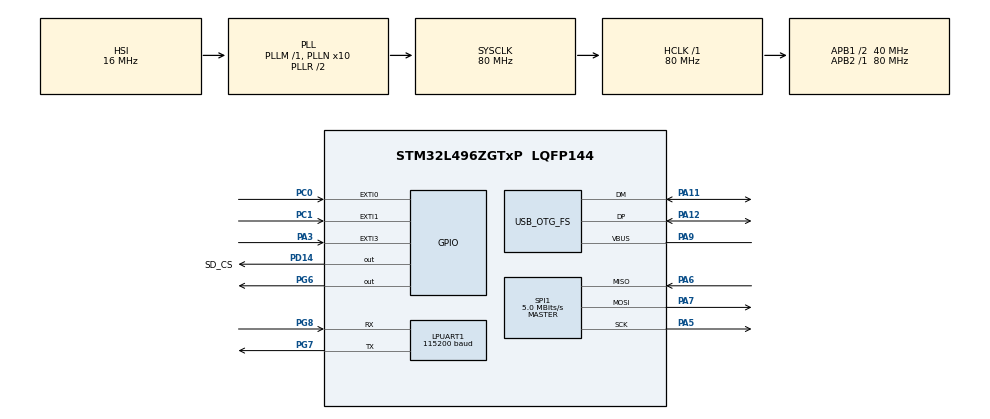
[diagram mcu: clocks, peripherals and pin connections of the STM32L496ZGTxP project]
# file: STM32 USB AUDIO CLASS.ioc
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Dma.Request0=SPI1_RX
Dma.Request1=SPI1_TX
Dma.SPI1_RX.0.Direction=DMA_PERIPH_TO_MEMORY
Dma.SPI1_RX.0.Instance=DMA1_Channel2
Dma.SPI1_RX.0.MemDataAlignment=DMA_MDATAALIGN_BYTE
Dma.SPI1_RX.0.MemInc=DMA_MINC_ENABLE
Dma.SPI1_RX.0.Mode=DMA_NORMAL
Dma.SPI1_RX.0.PeriphDataAlignment=DMA_PDATAALIGN_BYTE
Dma.SPI1_RX.0.PeriphInc=DMA_PINC_DISABLE
Dma.SPI1_RX.0.Priority=DMA_PRIORITY_LOW
Dma.SPI1_TX.1.Direction=DMA_MEMORY_TO_PERIPH
Dma.SPI1_TX.1.Instance=DMA1_Channel3
Dma.SPI1_TX.1.MemDataAlignment=DMA_MDATAALIGN_BYTE
Dma.SPI1_TX.1.MemInc=DMA_MINC_ENABLE
Dma.SPI1_TX.1.Mode=DMA_NORMAL
Dma.SPI1_TX.1.PeriphDataAlignment=DMA_PDATAALIGN_BYTE
Dma.SPI1_TX.1.PeriphInc=DMA_PINC_DISABLE
Dma.SPI1_TX.1.Priority=DMA_PRIORITY_LOW
LPUART1.BaudRate=115200
LPUART1.WordLength=UART_WORDLENGTH_8B
Mcu.Family=STM32L4
Mcu.Name=STM32L496ZGTxP
Mcu.Package=LQFP144
NVIC.DMA1_Channel2_IRQn=true\:0\:0\:false\:false\:true\:false\:true\:true
NVIC.DMA1_Channel3_IRQn=true\:0\:0\:false\:false\:true\:false\:true\:true
NVIC.EXTI0_IRQn=true\:0\:0\:false\:false\:true\:true\:true\:true
NVIC.EXTI1_IRQn=true\:0\:0\:false\:false\:true\:true\:true\:true
NVIC.EXTI3_IRQn=true\:0\:0\:false\:false\:true\:true\:true\:true
NVIC.OTG_FS_IRQn=true\:0\:0\:false\:false\:true\:true\:true\:true
NVIC.PriorityGroup=NVIC_PRIORITYGROUP_4
PA11.Mode=Host_Only
PA11.Signal=USB_OTG_FS_DM
PA12.Mode=Host_Only
PA12.Signal=USB_OTG_FS_DP
PA13\ (JTMS/SWDIO).Mode=Serial_Wire
PA13\ (JTMS/SWDIO).Signal=SYS_JTMS-SWDIO
PA14\ (JTCK/SWCLK).Mode=Serial_Wire
PA14\ (JTCK/SWCLK).Signal=SYS_JTCK-SWCLK
PA3.GPIO_ModeDefaultEXTI=GPIO_MODE_IT_FALLING
PA3.GPIO_PuPd=GPIO_PULLUP
PA3.Signal=GPXTI3
PA5.Mode=Full_Duplex_Master
PA5.Signal=SPI1_SCK
PA6.Mode=Full_Duplex_Master
PA6.Signal=SPI1_MISO
PA7.Mode=Full_Duplex_Master
PA7.Signal=SPI1_MOSI
PA9.Mode=Activate_VBUS
PA9.Signal=USB_OTG_FS_VBUS
PC0.GPIO_ModeDefaultEXTI=GPIO_MODE_IT_FALLING
PC0.GPIO_PuPd=GPIO_PULLUP
PC0.Signal=GPXTI0
PC1.GPIO_ModeDefaultEXTI=GPIO_MODE_IT_FALLING
PC1.GPIO_PuPd=GPIO_PULLUP
PC1.Signal=GPXTI1
PD14.GPIO_Label=SD_CS
PD14.GPIO_Speed=GPIO_SPEED_FREQ_VERY_HIGH
PD14.PinState=GPIO_PIN_SET
PD14.Signal=GPIO_Output
PG6.PinState=GPIO_PIN_SET
PG6.Signal=GPIO_Output
PG7.Mode=Asynchronous
PG7.Signal=LPUART1_TX
PG8.Mode=Asynchronous
PG8.Signal=LPUART1_RX
ProjectManager.HeapSize=0x200
ProjectManager.StackSize=0x400
ProjectManager.TargetToolchain=STM32CubeIDE
RCC.48MHZClocksFreq_Value=24000000
RCC.ADCFreq_Value=64000000
RCC.AHBFreq_Value=80000000
RCC.APB1CLKDivider=RCC_HCLK_DIV2
RCC.APB1Freq_Value=40000000
RCC.APB1TimFreq_Value=80000000
RCC.APB2Freq_Value=80000000
RCC.APB2TimFreq_Value=80000000
RCC.CK48CLockSelection=RCC_USBCLKSOURCE_HSI48
RCC.CortexFreq_Value=80000000
RCC.HCLKFreq_Value=80000000
RCC.HSE_VALUE=8000000
RCC.HSI48_VALUE=48000000
RCC.HSI_VALUE=16000000
RCC.LSE_VALUE=32768
RCC.MSI_VALUE=4000000
RCC.PLLMUL=RCC_PLL_MUL9
RCC.PLLN=10
RCC.PLLSourceVirtual=RCC_PLLSOURCE_HSI
RCC.PRESCALERUSB=RCC_USBCLKSOURCE_PLL_DIV1_5
RCC.SYSCLKFreq_VALUE=80000000
RCC.SYSCLKSource=RCC_SYSCLKSOURCE_PLLCLK
RCC.SYSCLKSourceVirtual=RCC_SYSCLKSOURCE_PLLCLK
RCC.USBFreq_Value=48000000
RCC.VCOOutputFreq_Value=160000000
SPI1.BaudRatePrescaler=SPI_BAUDRATEPRESCALER_16
SPI1.CalculateBaudRate=5.0 MBits/s
SPI1.DataSize=SPI_DATASIZE_8BIT
SPI1.Direction=SPI_DIRECTION_2LINES
SPI1.Mode=SPI_MODE_MASTER
SPI1.VirtualType=VM_MASTER
USB_HOST.USBH_HandleTypeDef=hUsbHostFS
USB_HOST.VirtualModeFS=Audio
USB_OTG_FS.VirtualMode=Host_Only
USB_OTG_FS.phy_itface=HCD_PHY_EMBEDDED
VP_FATFS_VS_Generic.Mode=User_defined
VP_USB_HOST_VS_USB_HOST_AUDIO_FS.Mode=AUDIO_FS
board=NUCLEO-L496ZG-P

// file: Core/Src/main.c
/* USER CODE BEGIN Header */
/**
  ******************************************************************************
  * @file           : main.c
  * @brief          : Main program body
  ******************************************************************************
  * @attention
  *
  * Copyright (c) 2026 STMicroelectronics.
  * All rights reserved.
  *
  * This software is licensed under terms that can be found in the LICENSE file
  * in the root directory of this software component.
  * If no LICENSE file comes with this software, it is provided AS-IS.
  *
  ******************************************************************************
  */
/* USER CODE END Header */
#include "main.h"
#include "fatfs.h"
#include "usb_host.h"

/* USER CODE BEGIN Includes */
#include "explorer.h"
#include "usbh_core.h"
#include "audio.h"
/* USER CODE END Includes */

UART_HandleTypeDef hlpuart1;

SPI_HandleTypeDef hspi1;
DMA_HandleTypeDef hdma_spi1_rx;
DMA_HandleTypeDef hdma_spi1_tx;

void SystemClock_Config(void);
static void MX_GPIO_Init(void);
static void MX_DMA_Init(void);
static void MX_SPI1_Init(void);
static void MX_LPUART1_UART_Init(void);
void MX_USB_HOST_Process(void);

/* USER CODE BEGIN 0 */

int _write(int fd, unsigned char *buf, int len) {
  if (fd == 1 || fd == 2) {
    HAL_UART_Transmit(&hlpuart1, buf, len, 999);
  }
  return len;
}

extern USBH_HandleTypeDef hUsbHostFS;
extern ApplicationTypeDef Appli_state;

int audio_started = 0;
uint16_t key_pressed = 0;

void HAL_GPIO_EXTI_Callback(uint16_t GPIO_Pin)
{
	key_pressed = GPIO_Pin;
}

void USB_AppProcess(void)
{
    if ((Appli_state == APPLICATION_READY) && (hUsbHostFS.gState == HOST_CLASS) && (audio_started == 0))
    {
        if (SD_StorageInit() == 0)
        {
        	audio_started = 1;
        	SD_StorageParse();
        	AUDIO_Start(0);
        }
    }

    if (key_pressed != 0)
    {
    	HAL_Delay(250);
    	if (key_pressed == GPIO_PIN_3)  // PA3 -> NEXT
    	{
    		AUDIO_PlaybackKeys(AUDIO_KEY_NEXT);
    	}

    	else if (key_pressed == GPIO_PIN_0) // PC0 -> PREVIOUS
    	{
    		AUDIO_PlaybackKeys(AUDIO_KEY_PREVIOUS);
    	}

    	else if (key_pressed == GPIO_PIN_1) // PC1 -> PLAY/PAUSE
    	{
    		AUDIO_PlaybackKeys(AUDIO_KEY_PLAY_PAUSE);
    	}

    	key_pressed = 0;
    }
}

/* USER CODE END 0 */

int main(void)
{

  /* MCU Configuration--------------------------------------------------------*/

  /* Reset of all peripherals, Initializes the Flash interface and the Systick. */
  HAL_Init();

  /* Configure the system clock */
  SystemClock_Config();

  /* Initialize all configured peripherals */
  MX_GPIO_Init();
  MX_DMA_Init();
  MX_SPI1_Init();
  MX_LPUART1_UART_Init();
//  MX_FATFS_Init();
  MX_USB_HOST_Init();

  /* Infinite loop */
  while (1)
  {
    MX_USB_HOST_Process();

    /* USER CODE BEGIN 3 */

    USB_AppProcess();
    AUDIO_Process();
  }
  /* USER CODE END 3 */
}

void SystemClock_Config(void)
{
  RCC_OscInitTypeDef RCC_OscInitStruct = {0};
  RCC_ClkInitTypeDef RCC_ClkInitStruct = {0};

  /** Configure the main internal regulator output voltage
  */
  if (HAL_PWREx_ControlVoltageScaling(PWR_REGULATOR_VOLTAGE_SCALE1) != HAL_OK)
  {
    Error_Handler();
  }

  /** Initializes the RCC Oscillators according to the specified parameters
  * in the RCC_OscInitTypeDef structure.
  */
  RCC_OscInitStruct.OscillatorType = RCC_OSCILLATORTYPE_HSI48|RCC_OSCILLATORTYPE_HSI;
  RCC_OscInitStruct.HSIState = RCC_HSI_ON;
  RCC_OscInitStruct.HSI48State = RCC_HSI48_ON;
  RCC_OscInitStruct.HSICalibrationValue = RCC_HSICALIBRATION_DEFAULT;
  RCC_OscInitStruct.PLL.PLLState = RCC_PLL_ON;
  RCC_OscInitStruct.PLL.PLLSource = RCC_PLLSOURCE_HSI;
  RCC_OscInitStruct.PLL.PLLM = 1;
  RCC_OscInitStruct.PLL.PLLN = 10;
  RCC_OscInitStruct.PLL.PLLP = RCC_PLLP_DIV2;
  RCC_OscInitStruct.PLL.PLLQ = RCC_PLLQ_DIV2;
  RCC_OscInitStruct.PLL.PLLR = RCC_PLLR_DIV2;
  if (HAL_RCC_OscConfig(&RCC_OscInitStruct) != HAL_OK)
  {
    Error_Handler();
  }

  /** Initializes the CPU, AHB and APB buses clocks
  */
  RCC_ClkInitStruct.ClockType = RCC_CLOCKTYPE_HCLK|RCC_CLOCKTYPE_SYSCLK
                              |RCC_CLOCKTYPE_PCLK1|RCC_CLOCKTYPE_PCLK2;
  RCC_ClkInitStruct.SYSCLKSource = RCC_SYSCLKSOURCE_PLLCLK;
  RCC_ClkInitStruct.AHBCLKDivider = RCC_SYSCLK_DIV1;
  RCC_ClkInitStruct.APB1CLKDivider = RCC_HCLK_DIV2;
  RCC_ClkInitStruct.APB2CLKDivider = RCC_HCLK_DIV1;

  if (HAL_RCC_ClockConfig(&RCC_ClkInitStruct, FLASH_LATENCY_4) != HAL_OK)
  {
    Error_Handler();
  }
}

static void MX_LPUART1_UART_Init(void)
{

  hlpuart1.Instance = LPUART1;
  hlpuart1.Init.BaudRate = 115200;
  hlpuart1.Init.WordLength = UART_WORDLENGTH_8B;
  hlpuart1.Init.StopBits = UART_STOPBITS_1;
  hlpuart1.Init.Parity = UART_PARITY_NONE;
  hlpuart1.Init.Mode = UART_MODE_TX_RX;
  hlpuart1.Init.HwFlowCtl = UART_HWCONTROL_NONE;
  hlpuart1.Init.OneBitSampling = UART_ONE_BIT_SAMPLE_DISABLE;
  hlpuart1.AdvancedInit.AdvFeatureInit = UART_ADVFEATURE_NO_INIT;
  if (HAL_UART_Init(&hlpuart1) != HAL_OK)
  {
    Error_Handler();
  }

}

static void MX_SPI1_Init(void)
{

  /* SPI1 parameter configuration*/
  hspi1.Instance = SPI1;
  hspi1.Init.Mode = SPI_MODE_MASTER;
  hspi1.Init.Direction = SPI_DIRECTION_2LINES;
  hspi1.Init.DataSize = SPI_DATASIZE_8BIT;
  hspi1.Init.CLKPolarity = SPI_POLARITY_LOW;
  hspi1.Init.CLKPhase = SPI_PHASE_1EDGE;
  hspi1.Init.NSS = SPI_NSS_SOFT;
  hspi1.Init.BaudRatePrescaler = SPI_BAUDRATEPRESCALER_16;
  hspi1.Init.FirstBit = SPI_FIRSTBIT_MSB;
  hspi1.Init.TIMode = SPI_TIMODE_DISABLE;
  hspi1.Init.CRCCalculation = SPI_CRCCALCULATION_DISABLE;
  hspi1.Init.CRCPolynomial = 7;
  hspi1.Init.CRCLength = SPI_CRC_LENGTH_DATASIZE;
  hspi1.Init.NSSPMode = SPI_NSS_PULSE_ENABLE;
  if (HAL_SPI_Init(&hspi1) != HAL_OK)
  {
    Error_Handler();
  }

}

static void MX_DMA_Init(void)
{

  /* DMA controller clock enable */
  __HAL_RCC_DMA1_CLK_ENABLE();

  /* DMA interrupt init */
  /* DMA1_Channel2_IRQn interrupt configuration */
  HAL_NVIC_SetPriority(DMA1_Channel2_IRQn, 0, 0);
  HAL_NVIC_EnableIRQ(DMA1_Channel2_IRQn);
  /* DMA1_Channel3_IRQn interrupt configuration */
  HAL_NVIC_SetPriority(DMA1_Channel3_IRQn, 0, 0);
  HAL_NVIC_EnableIRQ(DMA1_Channel3_IRQn);

}

static void MX_GPIO_Init(void)
{
  GPIO_InitTypeDef GPIO_InitStruct = {0};

  /* GPIO Ports Clock Enable */
  __HAL_RCC_GPIOC_CLK_ENABLE();
  __HAL_RCC_GPIOA_CLK_ENABLE();
  __HAL_RCC_GPIOD_CLK_ENABLE();
  __HAL_RCC_GPIOG_CLK_ENABLE();
  HAL_PWREx_EnableVddIO2();

  /*Configure GPIO pin Output Level */
  HAL_GPIO_WritePin(SD_CS_GPIO_Port, SD_CS_Pin, GPIO_PIN_SET);

  /*Configure GPIO pin Output Level */
  HAL_GPIO_WritePin(GPIOG, GPIO_PIN_6, GPIO_PIN_SET);

  /*Configure GPIO pins : PC0 PC1 */
  GPIO_InitStruct.Pin = GPIO_PIN_0|GPIO_PIN_1;
  GPIO_InitStruct.Mode = GPIO_MODE_IT_FALLING;
  GPIO_InitStruct.Pull = GPIO_PULLUP;
  HAL_GPIO_Init(GPIOC, &GPIO_InitStruct);

  /*Configure GPIO pin : PA3 */
  GPIO_InitStruct.Pin = GPIO_PIN_3;
  GPIO_InitStruct.Mode = GPIO_MODE_IT_FALLING;
  GPIO_InitStruct.Pull = GPIO_PULLUP;
  HAL_GPIO_Init(GPIOA, &GPIO_InitStruct);

  /*Configure GPIO pin : SD_CS_Pin */
  GPIO_InitStruct.Pin = SD_CS_Pin;
  GPIO_InitStruct.Mode = GPIO_MODE_OUTPUT_PP;
  GPIO_InitStruct.Pull = GPIO_NOPULL;
  GPIO_InitStruct.Speed = GPIO_SPEED_FREQ_VERY_HIGH;
  HAL_GPIO_Init(SD_CS_GPIO_Port, &GPIO_InitStruct);

  /*Configure GPIO pin : PG6 */
  GPIO_InitStruct.Pin = GPIO_PIN_6;
  GPIO_InitStruct.Mode = GPIO_MODE_OUTPUT_PP;
  GPIO_InitStruct.Pull = GPIO_NOPULL;
  GPIO_InitStruct.Speed = GPIO_SPEED_FREQ_LOW;
  HAL_GPIO_Init(GPIOG, &GPIO_InitStruct);

  /* EXTI interrupt init*/
  HAL_NVIC_SetPriority(EXTI0_IRQn, 0, 0);
  HAL_NVIC_EnableIRQ(EXTI0_IRQn);

  HAL_NVIC_SetPriority(EXTI1_IRQn, 0, 0);
  HAL_NVIC_EnableIRQ(EXTI1_IRQn);

  HAL_NVIC_SetPriority(EXTI3_IRQn, 0, 0);
  HAL_NVIC_EnableIRQ(EXTI3_IRQn);

}

void Error_Handler(void)
{
  __disable_irq();
  while (1)
  {
  }
}
